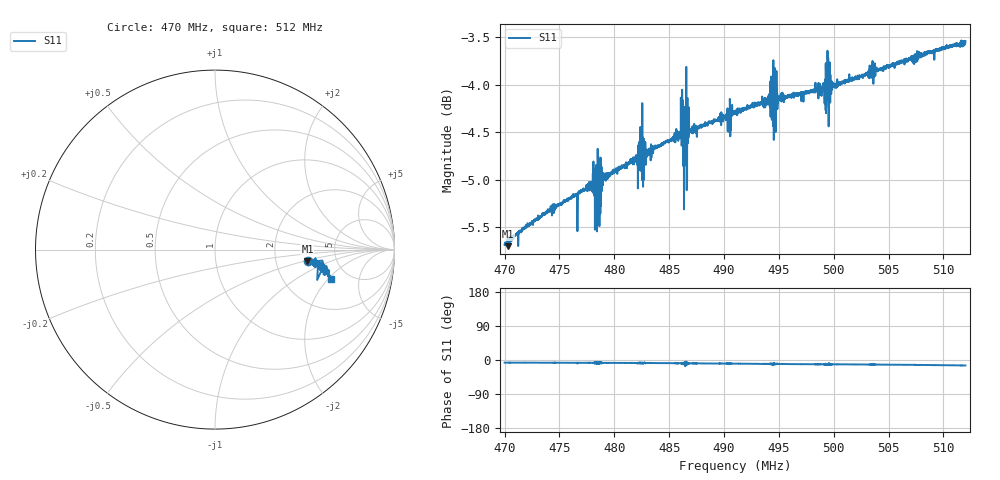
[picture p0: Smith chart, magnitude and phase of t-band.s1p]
! Calibrated averaged scanner-service zoom
# Hz S RI R 50
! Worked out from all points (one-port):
!   4001 points, 470 MHz to 512 MHz, reference 50 ohm
!   lowest |S11| = -5.7 dB at 470.3 MHz (marker M1), VSWR 3.16, Z = 153 - j26.7 ohm
!   |S11| at or under -10 dB: nowhere
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4.7e8  0.5158 -0.0636
4.70315e8  0.5149 -0.0639
4.7525e8  0.5426 -0.0697
4.77938e8  0.5549 -0.0741
4.78526e8  0.575 -0.0684
4.79009e8  0.5605 -0.0737
4.805e8  0.5662 -0.0747
4.819595e8  0.5704 -0.0792
4.8239e8  0.5713 -0.0841
4.8281e8  0.5721 -0.0874
4.8575e8  0.5876 -0.0878
4.860545e8  0.5894 -0.0908
4.862855e8  0.5656 -0.0842
4.86443e8  0.5749 -0.0633
4.867475e8  0.5935 -0.0905
4.89824e8  0.5984 -0.1028
4.905065e8  0.5997 -0.1005
4.91e8  0.6013 -0.1011
4.94234e8  0.6045 -0.1117
4.945595e8  0.5915 -0.1232
4.9499e8  0.6112 -0.1143
4.9625e8  0.6112 -0.1181
4.99085e8  0.6147 -0.1238
4.99295e8  0.598 -0.1183
4.997255e8  0.6183 -0.1205
5.015e8  0.6226 -0.1275
5.0675e8  0.6353 -0.1425
5.12e8  0.6444 -0.1658
